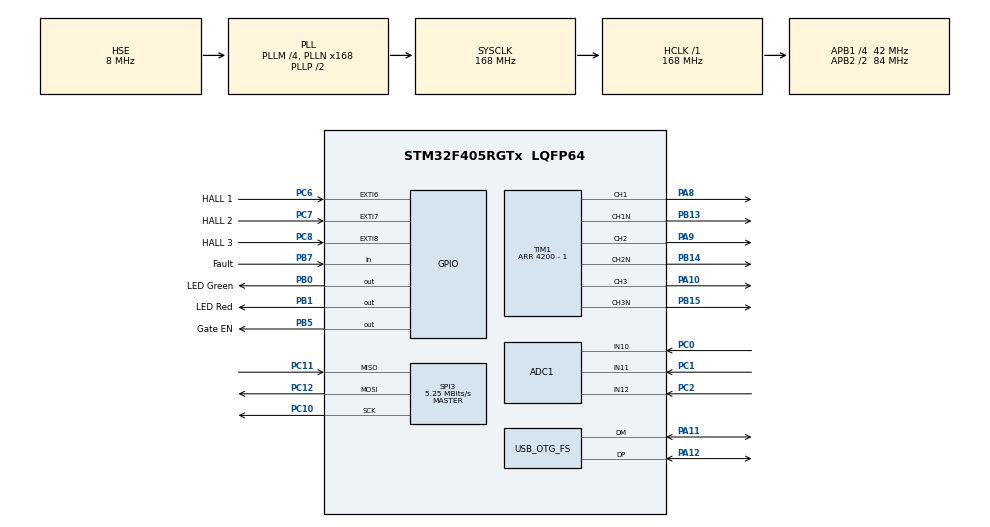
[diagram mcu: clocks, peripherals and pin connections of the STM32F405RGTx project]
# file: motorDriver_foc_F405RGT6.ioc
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ADC1.Channel-0\#ChannelRegularConversion=ADC_CHANNEL_10
ADC1.Channel-1\#ChannelInjectedConversion=ADC_CHANNEL_10
ADC1.Channel-2\#ChannelInjectedConversion=ADC_CHANNEL_11
ADC1.Channel-3\#ChannelInjectedConversion=ADC_CHANNEL_12
ADC1.ExternalTrigInjecConv=ADC_EXTERNALTRIGINJECCONV_T1_TRGO
ADC1.InjNumberOfConversion=3
ADC1.InjectedConvMode=None
ADC1.InjectedOffset-1\#ChannelInjectedConversion=0
ADC1.InjectedOffset-2\#ChannelInjectedConversion=0
ADC1.InjectedOffset-3\#ChannelInjectedConversion=0
ADC1.InjectedRank-1\#ChannelInjectedConversion=1
ADC1.InjectedRank-2\#ChannelInjectedConversion=2
ADC1.InjectedRank-3\#ChannelInjectedConversion=3
ADC1.NbrOfConversionFlag=1
ADC1.Rank-0\#ChannelRegularConversion=1
ADC1.SamplingTime-0\#ChannelRegularConversion=ADC_SAMPLETIME_3CYCLES
ADC1.SamplingTime-1\#ChannelInjectedConversion=ADC_SAMPLETIME_28CYCLES
ADC1.SamplingTime-2\#ChannelInjectedConversion=ADC_SAMPLETIME_28CYCLES
ADC1.SamplingTime-3\#ChannelInjectedConversion=ADC_SAMPLETIME_28CYCLES
ADC1.ScanConvMode=ENABLE
ADC1.master=1
Mcu.Family=STM32F4
Mcu.Name=STM32F405RGTx
Mcu.Package=LQFP64
NVIC.ADC_IRQn=true\:0\:0\:false\:false\:true\:true\:true\:true
NVIC.EXTI9_5_IRQn=true\:0\:0\:false\:false\:true\:true\:true\:true
NVIC.OTG_FS_IRQn=true\:0\:0\:false\:false\:true\:true\:true\:true
NVIC.PriorityGroup=NVIC_PRIORITYGROUP_4
NVIC.SPI3_IRQn=true\:0\:0\:false\:false\:true\:true\:true\:true
NVIC.TIM1_BRK_TIM9_IRQn=true\:6\:0\:true\:false\:true\:true\:true\:true
NVIC.TIM1_CC_IRQn=true\:0\:0\:false\:false\:true\:true\:true\:true
NVIC.TIM1_TRG_COM_TIM11_IRQn=true\:6\:0\:true\:false\:true\:true\:true\:true
NVIC.TIM1_UP_TIM10_IRQn=true\:0\:0\:false\:false\:true\:true\:true\:true
NVIC.TIM2_IRQn=true\:0\:0\:false\:false\:true\:true\:true\:true
PA10.Signal=S_TIM1_CH3
PA11.Mode=Device_Only
PA11.Signal=USB_OTG_FS_DM
PA12.Mode=Device_Only
PA12.Signal=USB_OTG_FS_DP
PA13.Mode=Serial_Wire
PA13.Signal=SYS_JTMS-SWDIO
PA14.Mode=Serial_Wire
PA14.Signal=SYS_JTCK-SWCLK
PA8.Signal=S_TIM1_CH1
PA9.Signal=S_TIM1_CH2
PB0.GPIO_Label=LED Green
PB0.Signal=GPIO_Output
PB1.GPIO_Label=LED Red
PB1.Signal=GPIO_Output
PB13.Mode=PWM Generation1 CH1 CH1N
PB13.Signal=TIM1_CH1N
PB14.Mode=PWM Generation2 CH2 CH2N
PB14.Signal=TIM1_CH2N
PB15.Mode=PWM Generation3 CH3 CH3N
PB15.Signal=TIM1_CH3N
PB5.GPIO_Label=Gate EN
PB5.Signal=GPIO_Output
PB7.GPIO_Label=Fault
PB7.GPIO_PuPd=GPIO_PULLUP
PB7.Signal=GPIO_Input
PC0.Signal=ADCx_IN10
PC1.Signal=ADCx_IN11
PC10.Mode=Full_Duplex_Master
PC10.Signal=SPI3_SCK
PC11.Mode=Full_Duplex_Master
PC11.Signal=SPI3_MISO
PC12.Mode=Full_Duplex_Master
PC12.Signal=SPI3_MOSI
PC14-OSC32_IN.Mode=LSE-External-Oscillator
PC14-OSC32_IN.Signal=RCC_OSC32_IN
PC15-OSC32_OUT.Mode=LSE-External-Oscillator
PC15-OSC32_OUT.Signal=RCC_OSC32_OUT
PC2.Signal=ADCx_IN12
PC6.GPIO_Label=HALL 1
PC6.GPIO_ModeDefaultEXTI=GPIO_MODE_IT_RISING_FALLING
PC6.Signal=GPXTI6
PC7.GPIO_Label=HALL 2
PC7.GPIO_ModeDefaultEXTI=GPIO_MODE_IT_RISING_FALLING
PC7.Signal=GPXTI7
PC8.GPIO_Label=HALL 3
PC8.GPIO_ModeDefaultEXTI=GPIO_MODE_IT_RISING_FALLING
PC8.Signal=GPXTI8
PH0-OSC_IN.Mode=HSE-External-Oscillator
PH0-OSC_IN.Signal=RCC_OSC_IN
PH1-OSC_OUT.Mode=HSE-External-Oscillator
PH1-OSC_OUT.Signal=RCC_OSC_OUT
ProjectManager.HeapSize=0x200
ProjectManager.StackSize=0x400
ProjectManager.TargetToolchain=MDK-ARM V5.32
RCC.48MHZClocksFreq_Value=48000000
RCC.AHBFreq_Value=168000000
RCC.APB1CLKDivider=RCC_HCLK_DIV4
RCC.APB1Freq_Value=42000000
RCC.APB1TimFreq_Value=84000000
RCC.APB2CLKDivider=RCC_HCLK_DIV2
RCC.APB2Freq_Value=84000000
RCC.APB2TimFreq_Value=168000000
RCC.CortexFreq_Value=168000000
RCC.HCLKFreq_Value=168000000
RCC.HSE_VALUE=8000000
RCC.HSI_VALUE=16000000
RCC.PLLM=4
RCC.PLLN=168
RCC.PLLQ=7
RCC.SYSCLKFreq_VALUE=168000000
RCC.SYSCLKSource=RCC_SYSCLKSOURCE_PLLCLK
RCC.VCOOutputFreq_Value=336000000
SH.ADCx_IN10.0=ADC1_IN10,IN10
SH.ADCx_IN11.0=ADC1_IN11,IN11
SH.ADCx_IN12.0=ADC1_IN12,IN12
SH.S_TIM1_CH1.0=TIM1_CH1,PWM Generation1 CH1 CH1N
SH.S_TIM1_CH2.0=TIM1_CH2,PWM Generation2 CH2 CH2N
SH.S_TIM1_CH3.0=TIM1_CH3,PWM Generation3 CH3 CH3N
SPI3.BaudRatePrescaler=SPI_BAUDRATEPRESCALER_8
SPI3.CLKPhase=SPI_PHASE_2EDGE
SPI3.CLKPolarity=SPI_POLARITY_HIGH
SPI3.CalculateBaudRate=5.25 MBits/s
SPI3.DataSize=SPI_DATASIZE_16BIT
SPI3.Direction=SPI_DIRECTION_2LINES
SPI3.Mode=SPI_MODE_MASTER
SPI3.VirtualType=VM_MASTER
TIM1.AutoReloadPreload=TIM_AUTORELOAD_PRELOAD_ENABLE
TIM1.AutomaticOutput=TIM_AUTOMATICOUTPUT_DISABLE
TIM1.Channel-Output\ Compare4\ No\ Output=TIM_CHANNEL_4
TIM1.Channel-PWM\ Generation1\ CH1\ CH1N=TIM_CHANNEL_1
TIM1.Channel-PWM\ Generation2\ CH2\ CH2N=TIM_CHANNEL_2
TIM1.Channel-PWM\ Generation3\ CH3\ CH3N=TIM_CHANNEL_3
TIM1.CounterMode=TIM_COUNTERMODE_CENTERALIGNED1
TIM1.DeadTime=168
TIM1.OC4Preload=DISABLE
TIM1.OffStateIDLEMode=TIM_OSSI_DISABLE
TIM1.OffStateRunMode=TIM_OSSR_DISABLE
TIM1.Period=4200 - 1
TIM1.Pulse-Output\ Compare4\ No\ Output=2100
TIM1.TIM_MasterOutputTrigger=TIM_TRGO_UPDATE
TIM2.AutoReloadPreload=TIM_AUTORELOAD_PRELOAD_ENABLE
TIM2.Period=100 - 1
TIM2.Prescaler=84 - 1
USB_DEVICE.CLASS_NAME_FS=CDC
USB_DEVICE.VirtualMode-CDC_FS=Cdc
USB_DEVICE.VirtualModeFS=Cdc_FS
USB_OTG_FS.VirtualMode=Device_Only
VP_TIM1_VS_ClockSourceINT.Mode=Internal
VP_TIM1_VS_no_output4.Mode=Output Compare4 No Output
VP_TIM2_VS_ClockSourceINT.Mode=Internal
VP_USB_DEVICE_VS_USB_DEVICE_CDC_FS.Mode=CDC_FS
board=custom

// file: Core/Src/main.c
/* USER CODE BEGIN Header */
/**
  ******************************************************************************
  * @file           : main.c
  * @brief          : Main program body
  ******************************************************************************
  * @attention
  *
  * Copyright (c) 2026 STMicroelectronics.
  * All rights reserved.
  *
  * This software is licensed under terms that can be found in the LICENSE file
  * in the root directory of this software component.
  * If no LICENSE file comes with this software, it is provided AS-IS.
  *
  ******************************************************************************
  */
/* USER CODE END Header */
#include "main.h"
#include "adc.h"
#include "spi.h"
#include "tim.h"
#include "usb_device.h"
#include "gpio.h"

/* USER CODE BEGIN Includes */
#include "pwm.h"
#include "drv8301.h"
#include "foc.h"
#include "hall.h"
#include "usbd_cdc_if.h"
#include "interrupt.h"
#include "current.h"
/* USER CODE END Includes */

/* USER CODE BEGIN PV */
static char usb_buf[96];
static uint32_t last_send_tick = 0;
/* USER CODE END PV */

void SystemClock_Config(void);

int main(void)
{

  /* MCU Configuration--------------------------------------------------------*/

  /* Reset of all peripherals, Initializes the Flash interface and the Systick. */
  HAL_Init();

  /* Configure the system clock */
  SystemClock_Config();

  /* Initialize all configured peripherals */
  MX_GPIO_Init();
  MX_SPI3_Init();
  MX_TIM1_Init();
  MX_USB_DEVICE_Init();
  MX_TIM2_Init();
  MX_ADC1_Init();
  /* USER CODE BEGIN 2 */
	DRV8301_Init();
	PWM_Init();
	Hall_Init();
	Pid_Control_Init();
	//adc采集
	Current_Sense_Start();
	HAL_TIM_Base_Start_IT(&htim2);   // 启动 TIM2 控制环中断 (10kHz)

	target_speed = 300.0f;            // 目标电角速度
  /* USER CODE END 2 */

  /* Infinite loop */
  while (1)
  {

    /* USER CODE BEGIN 3 */
//    if (HAL_GetTick() - last_send_tick >= 10)
//    {
//        last_send_tick = HAL_GetTick();
        float actual_speed = Get_PLL_Speed();

        int len = snprintf(usb_buf, sizeof(usb_buf), "%.2f, %.2f, %.2f, %.2f, %.2f, %.2f, %.2f\n",
                           target_speed, actual_speed, uq_output, Ua, Ub, Uc, angle_el);
        if (len > 0)
            CDC_Transmit_FS((uint8_t *)usb_buf, (uint16_t)len);
//    }
//    HAL_Delay(1);
  }
  /* USER CODE END 3 */
}

void SystemClock_Config(void)
{
  RCC_OscInitTypeDef RCC_OscInitStruct = {0};
  RCC_ClkInitTypeDef RCC_ClkInitStruct = {0};

  /** Configure the main internal regulator output voltage
  */
  __HAL_RCC_PWR_CLK_ENABLE();
  __HAL_PWR_VOLTAGESCALING_CONFIG(PWR_REGULATOR_VOLTAGE_SCALE1);

  /** Initializes the RCC Oscillators according to the specified parameters
  * in the RCC_OscInitTypeDef structure.
  */
  RCC_OscInitStruct.OscillatorType = RCC_OSCILLATORTYPE_HSE;
  RCC_OscInitStruct.HSEState = RCC_HSE_ON;
  RCC_OscInitStruct.PLL.PLLState = RCC_PLL_ON;
  RCC_OscInitStruct.PLL.PLLSource = RCC_PLLSOURCE_HSE;
  RCC_OscInitStruct.PLL.PLLM = 4;
  RCC_OscInitStruct.PLL.PLLN = 168;
  RCC_OscInitStruct.PLL.PLLP = RCC_PLLP_DIV2;
  RCC_OscInitStruct.PLL.PLLQ = 7;
  if (HAL_RCC_OscConfig(&RCC_OscInitStruct) != HAL_OK)
  {
    Error_Handler();
  }

  /** Initializes the CPU, AHB and APB buses clocks
  */
  RCC_ClkInitStruct.ClockType = RCC_CLOCKTYPE_HCLK|RCC_CLOCKTYPE_SYSCLK
                              |RCC_CLOCKTYPE_PCLK1|RCC_CLOCKTYPE_PCLK2;
  RCC_ClkInitStruct.SYSCLKSource = RCC_SYSCLKSOURCE_PLLCLK;
  RCC_ClkInitStruct.AHBCLKDivider = RCC_SYSCLK_DIV1;
  RCC_ClkInitStruct.APB1CLKDivider = RCC_HCLK_DIV4;
  RCC_ClkInitStruct.APB2CLKDivider = RCC_HCLK_DIV2;

  if (HAL_RCC_ClockConfig(&RCC_ClkInitStruct, FLASH_LATENCY_5) != HAL_OK)
  {
    Error_Handler();
  }
}

void Error_Handler(void)
{
  __disable_irq();
  while (1)
  {
  }
}
